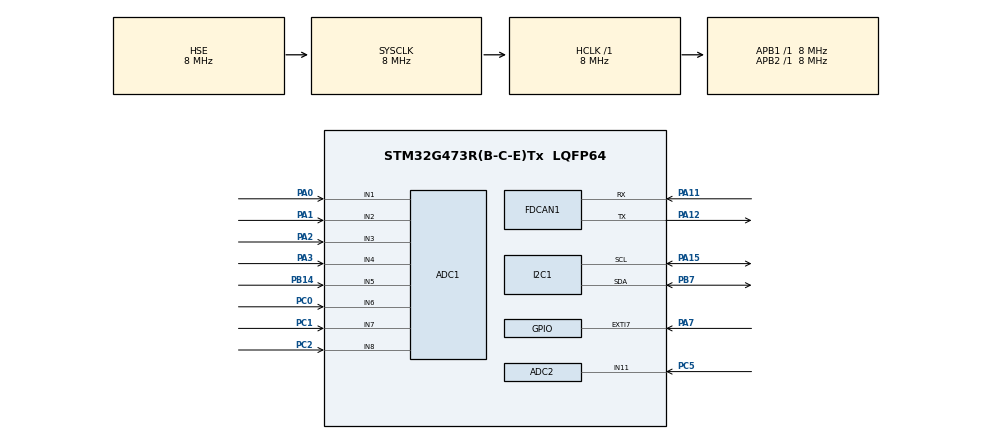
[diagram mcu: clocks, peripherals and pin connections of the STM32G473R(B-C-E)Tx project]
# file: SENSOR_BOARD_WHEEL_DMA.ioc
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ADC1.Channel-0\#ChannelRegularConversion=ADC_CHANNEL_1
ADC1.Channel-1\#ChannelRegularConversion=ADC_CHANNEL_2
ADC1.Channel-2\#ChannelRegularConversion=ADC_CHANNEL_3
ADC1.Channel-3\#ChannelRegularConversion=ADC_CHANNEL_4
ADC1.Channel-4\#ChannelRegularConversion=ADC_CHANNEL_5
ADC1.Channel-5\#ChannelRegularConversion=ADC_CHANNEL_6
ADC1.Channel-6\#ChannelRegularConversion=ADC_CHANNEL_7
ADC1.Channel-7\#ChannelRegularConversion=ADC_CHANNEL_8
ADC1.DMAContinuousRequests=ENABLE
ADC1.EOCSelection=ADC_EOC_SEQ_CONV
ADC1.ExternalTrigConv=ADC_EXTERNALTRIG_T3_TRGO
ADC1.NbrOfConversion=8
ADC1.NbrOfConversionFlag=1
ADC1.OffsetNumber-0\#ChannelRegularConversion=ADC_OFFSET_NONE
ADC1.OffsetNumber-1\#ChannelRegularConversion=ADC_OFFSET_NONE
ADC1.OffsetNumber-2\#ChannelRegularConversion=ADC_OFFSET_NONE
ADC1.OffsetNumber-3\#ChannelRegularConversion=ADC_OFFSET_NONE
ADC1.OffsetNumber-4\#ChannelRegularConversion=ADC_OFFSET_NONE
ADC1.OffsetNumber-5\#ChannelRegularConversion=ADC_OFFSET_NONE
ADC1.OffsetNumber-6\#ChannelRegularConversion=ADC_OFFSET_NONE
ADC1.OffsetNumber-7\#ChannelRegularConversion=ADC_OFFSET_NONE
ADC1.Rank-0\#ChannelRegularConversion=1
ADC1.Rank-1\#ChannelRegularConversion=2
ADC1.Rank-2\#ChannelRegularConversion=3
ADC1.Rank-3\#ChannelRegularConversion=4
ADC1.Rank-4\#ChannelRegularConversion=5
ADC1.Rank-5\#ChannelRegularConversion=6
ADC1.Rank-6\#ChannelRegularConversion=7
ADC1.Rank-7\#ChannelRegularConversion=8
ADC1.SamplingTime-0\#ChannelRegularConversion=ADC_SAMPLETIME_92CYCLES_5
ADC1.SamplingTime-1\#ChannelRegularConversion=ADC_SAMPLETIME_92CYCLES_5
ADC1.SamplingTime-2\#ChannelRegularConversion=ADC_SAMPLETIME_92CYCLES_5
ADC1.SamplingTime-3\#ChannelRegularConversion=ADC_SAMPLETIME_2CYCLES_5
ADC1.SamplingTime-4\#ChannelRegularConversion=ADC_SAMPLETIME_2CYCLES_5
ADC1.SamplingTime-5\#ChannelRegularConversion=ADC_SAMPLETIME_2CYCLES_5
ADC1.SamplingTime-6\#ChannelRegularConversion=ADC_SAMPLETIME_2CYCLES_5
ADC1.SamplingTime-7\#ChannelRegularConversion=ADC_SAMPLETIME_2CYCLES_5
ADC1.master=1
ADC2.Channel-1\#ChannelRegularConversion=ADC_CHANNEL_11
ADC2.ExternalTrigConv=ADC_EXTERNALTRIG_T3_TRGO
ADC2.NbrOfConversionFlag=1
ADC2.OffsetNumber-1\#ChannelRegularConversion=ADC_OFFSET_NONE
ADC2.Rank-1\#ChannelRegularConversion=1
ADC2.SamplingTime-1\#ChannelRegularConversion=ADC_SAMPLETIME_2CYCLES_5
Dma.ADC1.0.Direction=DMA_PERIPH_TO_MEMORY
Dma.ADC1.0.EventEnable=DISABLE
Dma.ADC1.0.Instance=DMA1_Channel1
Dma.ADC1.0.MemDataAlignment=DMA_MDATAALIGN_HALFWORD
Dma.ADC1.0.MemInc=DMA_MINC_ENABLE
Dma.ADC1.0.Mode=DMA_CIRCULAR
Dma.ADC1.0.PeriphDataAlignment=DMA_PDATAALIGN_HALFWORD
Dma.ADC1.0.PeriphInc=DMA_PINC_DISABLE
Dma.ADC1.0.Polarity=HAL_DMAMUX_REQ_GEN_RISING
Dma.ADC1.0.Priority=DMA_PRIORITY_LOW
Dma.ADC1.0.RequestNumber=1
Dma.ADC1.0.SignalID=NONE
Dma.ADC1.0.SyncEnable=DISABLE
Dma.ADC1.0.SyncPolarity=HAL_DMAMUX_SYNC_NO_EVENT
Dma.ADC1.0.SyncRequestNumber=1
Dma.ADC1.0.SyncSignalID=NONE
Dma.ADC2.1.Direction=DMA_PERIPH_TO_MEMORY
Dma.ADC2.1.EventEnable=DISABLE
Dma.ADC2.1.Instance=DMA1_Channel2
Dma.ADC2.1.MemDataAlignment=DMA_MDATAALIGN_HALFWORD
Dma.ADC2.1.MemInc=DMA_MINC_ENABLE
Dma.ADC2.1.Mode=DMA_NORMAL
Dma.ADC2.1.PeriphDataAlignment=DMA_PDATAALIGN_HALFWORD
Dma.ADC2.1.PeriphInc=DMA_PINC_DISABLE
Dma.ADC2.1.Polarity=HAL_DMAMUX_REQ_GEN_RISING
Dma.ADC2.1.Priority=DMA_PRIORITY_LOW
Dma.ADC2.1.RequestNumber=1
Dma.ADC2.1.SignalID=NONE
Dma.ADC2.1.SyncEnable=DISABLE
Dma.ADC2.1.SyncPolarity=HAL_DMAMUX_SYNC_NO_EVENT
Dma.ADC2.1.SyncRequestNumber=1
Dma.ADC2.1.SyncSignalID=NONE
Dma.Request0=ADC1
Dma.Request1=ADC2
FDCAN1.CalculateBaudRateNominal=100000
FDCAN1.CalculateTimeBitNominal=10000
FDCAN1.CalculateTimeQuantumNominal=2000.0
I2C1.Timing=0x00201D2B
Mcu.Family=STM32G4
Mcu.Name=STM32G473R(B-C-E)Tx
Mcu.Package=LQFP64
NVIC.ADC1_2_IRQn=true\:2\:0\:true\:false\:true\:true\:true\:true
NVIC.DMA1_Channel1_IRQn=true\:0\:0\:false\:false\:true\:false\:true\:true
NVIC.DMA1_Channel2_IRQn=true\:0\:0\:false\:false\:true\:false\:true\:true
NVIC.EXTI9_5_IRQn=true\:1\:0\:true\:false\:true\:true\:true\:true
NVIC.PriorityGroup=NVIC_PRIORITYGROUP_4
NVIC.TIM3_IRQn=true\:0\:0\:false\:false\:true\:true\:true\:true
PA0.Mode=IN1-Single-Ended
PA0.Signal=ADC1_IN1
PA1.Mode=IN2-Single-Ended
PA1.Signal=ADC1_IN2
PA11.Mode=FDCAN_Activate
PA11.Signal=FDCAN1_RX
PA12.Mode=FDCAN_Activate
PA12.Signal=FDCAN1_TX
PA13.Mode=Serial_Wire
PA13.Signal=SYS_JTMS-SWDIO
PA14.Mode=Serial_Wire
PA14.Signal=SYS_JTCK-SWCLK
PA15.Mode=I2C
PA15.Signal=I2C1_SCL
PA2.Mode=IN3-Single-Ended
PA2.Signal=ADC1_IN3
PA3.Mode=IN4-Single-Ended
PA3.Signal=ADC1_IN4
PA7.GPIO_PuPd=GPIO_PULLUP
PA7.Signal=GPXTI7
PB14.Mode=IN5-Single-Ended
PB14.Signal=ADC1_IN5
PB7.Mode=I2C
PB7.Signal=I2C1_SDA
PC0.Mode=IN6-Single-Ended
PC0.Signal=ADC1_IN6
PC1.Mode=IN7-Single-Ended
PC1.Signal=ADC1_IN7
PC2.Mode=IN8-Single-Ended
PC2.Signal=ADC1_IN8
PC5.Mode=IN11-Single-Ended
PC5.Signal=ADC2_IN11
PF0-OSC_IN.Mode=HSE-External-Oscillator
PF0-OSC_IN.Signal=RCC_OSC_IN
PF1-OSC_OUT.Mode=HSE-External-Oscillator
PF1-OSC_OUT.Signal=RCC_OSC_OUT
ProjectManager.HeapSize=0x200
ProjectManager.StackSize=0x400
ProjectManager.TargetToolchain=STM32CubeIDE
RCC.ADC12Freq_Value=8000000
RCC.ADC345Freq_Value=8000000
RCC.AHBFreq_Value=8000000
RCC.APB1Freq_Value=8000000
RCC.APB1TimFreq_Value=8000000
RCC.APB2Freq_Value=8000000
RCC.APB2TimFreq_Value=8000000
RCC.CortexFreq_Value=8000000
RCC.EXTERNAL_CLOCK_VALUE=12288000
RCC.FDCANCLockSelection=RCC_FDCANCLKSOURCE_HSE
RCC.HCLKFreq_Value=8000000
RCC.HSE_VALUE=8000000
RCC.HSI48_VALUE=48000000
RCC.HSI_VALUE=16000000
RCC.LSE_VALUE=32768
RCC.PLLSourceVirtual=RCC_PLLSOURCE_HSE
RCC.SYSCLKFreq_VALUE=8000000
RCC.SYSCLKSource=RCC_SYSCLKSOURCE_HSE
RCC.USBFreq_Value=32000000
RCC.VCOOutputFreq_Value=64000000
TIM3.PeriodNoDither=999
TIM3.Prescaler=7999
TIM3.TIM_MasterOutputTrigger=TIM_TRGO_UPDATE
TIM3.TIM_MasterSlaveMode=TIM_MASTERSLAVEMODE_ENABLE
VP_SYS_VS_DBSignals.Mode=DisableDeadBatterySignals
VP_TIM3_VS_ClockSourceINT.Mode=Internal
board=custom

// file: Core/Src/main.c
/* USER CODE BEGIN Header */
/**
  ******************************************************************************
  * @file           : main.c
  * @brief          : Main program body
  ******************************************************************************
  * @attention
  *
  * Copyright (c) 2024 STMicroelectronics.
  * All rights reserved.
  *
  * This software is licensed under terms that can be found in the LICENSE file
  * in the root directory of this software component.
  * If no LICENSE file comes with this software, it is provided AS-IS.
  *
  ******************************************************************************
  */
/* USER CODE END Header */
#include "main.h"

/* USER CODE BEGIN PD */

#define ADC_BUF_SIZE_DMS		8
#define ADC_BUF_SIZE_DAMPER		1

/* USER CODE END PD */

ADC_HandleTypeDef hadc1;
ADC_HandleTypeDef hadc2;
DMA_HandleTypeDef hdma_adc1;
DMA_HandleTypeDef hdma_adc2;

FDCAN_HandleTypeDef hfdcan1;

I2C_HandleTypeDef hi2c1;

TIM_HandleTypeDef htim3;

/* USER CODE BEGIN PV */

/* Volatile Variables */

volatile uint16_t CH1_PULL_PIPE_1 = 0;

volatile uint16_t CH2_PULL_PIPE_2 = 0;

volatile uint16_t CH3_PULL_PIPE_3 = 0;

volatile uint16_t CH4_PULL_PIPE_4 = 0;

volatile uint16_t CH5_PULL_PIPE_5 = 0;

volatile uint16_t CH6_PULL_PIPE_6 = 0;

volatile uint16_t CH7__TORSION_1 = 0;

volatile uint16_t CH8_TORSION2 = 0;

volatile uint16_t ADC2_DAMPER = 0;

volatile uint8_t ConvComplt_ADC1 = 0;

volatile uint8_t ConvComplt_ADC2 = 0;

uint32_t rawValues_DMS[ADC_BUF_SIZE_DMS];

uint32_t rawValues_DAMPER[ADC_BUF_SIZE_DAMPER];

volatile uint16_t WHEEL_SPEED = 0;

uint16_t WHEEL_RADIUS = 100;

volatile uint32_t lastTime = 0;
volatile uint32_t currentTime = 0;
volatile uint32_t timeDiff = 0;

/* USER CODE END PV */

void SystemClock_Config(void);
static void MX_GPIO_Init(void);
static void MX_DMA_Init(void);
static void MX_ADC1_Init(void);
static void MX_FDCAN1_Init(void);
static void MX_TIM3_Init(void);
static void MX_ADC2_Init(void);
static void MX_I2C1_Init(void);

int main(void)
{

  /* MCU Configuration--------------------------------------------------------*/

  /* Reset of all peripherals, Initializes the Flash interface and the Systick. */
  HAL_Init();

  /* Configure the system clock */
  SystemClock_Config();

  /* Initialize all configured peripherals */
  MX_GPIO_Init();
  MX_DMA_Init();
  MX_ADC1_Init();
  MX_FDCAN1_Init();
  MX_TIM3_Init();
  MX_ADC2_Init();
  MX_I2C1_Init();
  /* USER CODE BEGIN 2 */

  HAL_Delay(50); /* Starting time for VOLTAGE-Converter */

  uint16_t WHEEL_CIRCUMFERENCE = 2 * WHEEL_RADIUS * 3.14159f;

  HAL_ADCEx_Calibration_Start(&hadc1, ADC_SINGLE_ENDED);

  HAL_ADCEx_Calibration_Start(&hadc2, ADC_SINGLE_ENDED);

  HAL_ADC_Start_DMA(&hadc1, (uint32_t*)&rawValues_DMS, ADC_BUF_SIZE_DMS);

  HAL_ADC_Start_DMA(&hadc2, (uint32_t*)&rawValues_DAMPER, ADC_BUF_SIZE_DAMPER);

  HAL_TIM_Base_Start(&htim3);

  HAL_NVIC_EnableIRQ(EXTI9_5_IRQn);

  /* USER CODE END 2 */

  /* Infinite loop */
  /* USER CODE BEGIN WHILE */
  while (1)
  {

	  if(timeDiff != 0) {

	  	  	  WHEEL_SPEED = WHEEL_CIRCUMFERENCE / (timeDiff / 1000.0f);
	  	  }

	  if(ConvComplt_ADC1) {

		  ConvComplt_ADC1 = 0;

		  CH1_PULL_PIPE_1 = rawValues_DMS[0];

		  CH2_PULL_PIPE_2 = rawValues_DMS[1];

		  CH3_PULL_PIPE_3 = rawValues_DMS[2];

		  CH4_PULL_PIPE_4 = rawValues_DMS[3];

		  CH5_PULL_PIPE_5 = rawValues_DMS[4];

		  CH6_PULL_PIPE_6 = rawValues_DMS[5];

		  CH7_TORSION_1 = rawValues_DMS[6];

		  CH8_TORSION_2 = rawValues_DMS[6];

	  }

	  if(ConvComplt_ADC2) {

	  		ConvComplt_ADC2 = 0;

	  		ADC2_DAMPER = rawValues_DAMPER[1];

	  }

    /* USER CODE END WHILE */

  }
}

void SystemClock_Config(void)
{
  RCC_OscInitTypeDef RCC_OscInitStruct = {0};
  RCC_ClkInitTypeDef RCC_ClkInitStruct = {0};

  /** Configure the main internal regulator output voltage
  */
  HAL_PWREx_ControlVoltageScaling(PWR_REGULATOR_VOLTAGE_SCALE1);

  /** Initializes the RCC Oscillators according to the specified parameters
  * in the RCC_OscInitTypeDef structure.
  */
  RCC_OscInitStruct.OscillatorType = RCC_OSCILLATORTYPE_HSE;
  RCC_OscInitStruct.HSEState = RCC_HSE_ON;
  RCC_OscInitStruct.PLL.PLLState = RCC_PLL_NONE;
  if (HAL_RCC_OscConfig(&RCC_OscInitStruct) != HAL_OK)
  {
    Error_Handler();
  }

  /** Initializes the CPU, AHB and APB buses clocks
  */
  RCC_ClkInitStruct.ClockType = RCC_CLOCKTYPE_HCLK|RCC_CLOCKTYPE_SYSCLK
                              |RCC_CLOCKTYPE_PCLK1|RCC_CLOCKTYPE_PCLK2;
  RCC_ClkInitStruct.SYSCLKSource = RCC_SYSCLKSOURCE_HSE;
  RCC_ClkInitStruct.AHBCLKDivider = RCC_SYSCLK_DIV1;
  RCC_ClkInitStruct.APB1CLKDivider = RCC_HCLK_DIV1;
  RCC_ClkInitStruct.APB2CLKDivider = RCC_HCLK_DIV1;

  if (HAL_RCC_ClockConfig(&RCC_ClkInitStruct, FLASH_LATENCY_0) != HAL_OK)
  {
    Error_Handler();
  }
}

static void MX_ADC1_Init(void)
{

  ADC_MultiModeTypeDef multimode = {0};
  ADC_ChannelConfTypeDef sConfig = {0};

  /** Common config
  */
  hadc1.Instance = ADC1;
  hadc1.Init.ClockPrescaler = ADC_CLOCK_SYNC_PCLK_DIV2;
  hadc1.Init.Resolution = ADC_RESOLUTION_12B;
  hadc1.Init.DataAlign = ADC_DATAALIGN_RIGHT;
  hadc1.Init.GainCompensation = 0;
  hadc1.Init.ScanConvMode = ADC_SCAN_ENABLE;
  hadc1.Init.EOCSelection = ADC_EOC_SEQ_CONV;
  hadc1.Init.LowPowerAutoWait = DISABLE;
  hadc1.Init.ContinuousConvMode = DISABLE;
  hadc1.Init.NbrOfConversion = 8;
  hadc1.Init.DiscontinuousConvMode = DISABLE;
  hadc1.Init.ExternalTrigConv = ADC_EXTERNALTRIG_T3_TRGO;
  hadc1.Init.ExternalTrigConvEdge = ADC_EXTERNALTRIGCONVEDGE_RISING;
  hadc1.Init.DMAContinuousRequests = ENABLE;
  hadc1.Init.Overrun = ADC_OVR_DATA_PRESERVED;
  hadc1.Init.OversamplingMode = DISABLE;
  if (HAL_ADC_Init(&hadc1) != HAL_OK)
  {
    Error_Handler();
  }

  /** Configure the ADC multi-mode
  */
  multimode.Mode = ADC_MODE_INDEPENDENT;
  if (HAL_ADCEx_MultiModeConfigChannel(&hadc1, &multimode) != HAL_OK)
  {
    Error_Handler();
  }

  /** Configure Regular Channel
  */
  sConfig.Channel = ADC_CHANNEL_1;
  sConfig.Rank = ADC_REGULAR_RANK_1;
  sConfig.SamplingTime = ADC_SAMPLETIME_92CYCLES_5;
  sConfig.SingleDiff = ADC_SINGLE_ENDED;
  sConfig.OffsetNumber = ADC_OFFSET_NONE;
  sConfig.Offset = 0;
  if (HAL_ADC_ConfigChannel(&hadc1, &sConfig) != HAL_OK)
  {
    Error_Handler();
  }

  /** Configure Regular Channel
  */
  sConfig.Channel = ADC_CHANNEL_2;
  sConfig.Rank = ADC_REGULAR_RANK_2;
  if (HAL_ADC_ConfigChannel(&hadc1, &sConfig) != HAL_OK)
  {
    Error_Handler();
  }

  /** Configure Regular Channel
  */
  sConfig.Channel = ADC_CHANNEL_3;
  sConfig.Rank = ADC_REGULAR_RANK_3;
  if (HAL_ADC_ConfigChannel(&hadc1, &sConfig) != HAL_OK)
  {
    Error_Handler();
  }

  /** Configure Regular Channel
  */
  sConfig.Channel = ADC_CHANNEL_4;
  sConfig.Rank = ADC_REGULAR_RANK_4;
  sConfig.SamplingTime = ADC_SAMPLETIME_2CYCLES_5;
  if (HAL_ADC_ConfigChannel(&hadc1, &sConfig) != HAL_OK)
  {
    Error_Handler();
  }

  /** Configure Regular Channel
  */
  sConfig.Channel = ADC_CHANNEL_5;
  sConfig.Rank = ADC_REGULAR_RANK_5;
  if (HAL_ADC_ConfigChannel(&hadc1, &sConfig) != HAL_OK)
  {
    Error_Handler();
  }

  /** Configure Regular Channel
  */
  sConfig.Channel = ADC_CHANNEL_6;
  sConfig.Rank = ADC_REGULAR_RANK_6;
  if (HAL_ADC_ConfigChannel(&hadc1, &sConfig) != HAL_OK)
  {
    Error_Handler();
  }

  /** Configure Regular Channel
  */
  sConfig.Channel = ADC_CHANNEL_7;
  sConfig.Rank = ADC_REGULAR_RANK_7;
  if (HAL_ADC_ConfigChannel(&hadc1, &sConfig) != HAL_OK)
  {
    Error_Handler();
  }

  /** Configure Regular Channel
  */
  sConfig.Channel = ADC_CHANNEL_8;
  sConfig.Rank = ADC_REGULAR_RANK_8;
  if (HAL_ADC_ConfigChannel(&hadc1, &sConfig) != HAL_OK)
  {
    Error_Handler();
  }

}

static void MX_ADC2_Init(void)
{

  ADC_ChannelConfTypeDef sConfig = {0};

  /** Common config
  */
  hadc2.Instance = ADC2;
  hadc2.Init.ClockPrescaler = ADC_CLOCK_SYNC_PCLK_DIV2;
  hadc2.Init.Resolution = ADC_RESOLUTION_12B;
  hadc2.Init.DataAlign = ADC_DATAALIGN_RIGHT;
  hadc2.Init.GainCompensation = 0;
  hadc2.Init.ScanConvMode = ADC_SCAN_DISABLE;
  hadc2.Init.EOCSelection = ADC_EOC_SINGLE_CONV;
  hadc2.Init.LowPowerAutoWait = DISABLE;
  hadc2.Init.ContinuousConvMode = DISABLE;
  hadc2.Init.NbrOfConversion = 1;
  hadc2.Init.DiscontinuousConvMode = DISABLE;
  hadc2.Init.ExternalTrigConv = ADC_EXTERNALTRIG_T3_TRGO;
  hadc2.Init.ExternalTrigConvEdge = ADC_EXTERNALTRIGCONVEDGE_RISING;
  hadc2.Init.DMAContinuousRequests = DISABLE;
  hadc2.Init.Overrun = ADC_OVR_DATA_PRESERVED;
  hadc2.Init.OversamplingMode = DISABLE;
  if (HAL_ADC_Init(&hadc2) != HAL_OK)
  {
    Error_Handler();
  }

  /** Configure Regular Channel
  */
  sConfig.Channel = ADC_CHANNEL_11;
  sConfig.Rank = ADC_REGULAR_RANK_1;
  sConfig.SamplingTime = ADC_SAMPLETIME_2CYCLES_5;
  sConfig.SingleDiff = ADC_SINGLE_ENDED;
  sConfig.OffsetNumber = ADC_OFFSET_NONE;
  sConfig.Offset = 0;
  if (HAL_ADC_ConfigChannel(&hadc2, &sConfig) != HAL_OK)
  {
    Error_Handler();
  }

}

static void MX_FDCAN1_Init(void)
{

  hfdcan1.Instance = FDCAN1;
  hfdcan1.Init.ClockDivider = FDCAN_CLOCK_DIV1;
  hfdcan1.Init.FrameFormat = FDCAN_FRAME_CLASSIC;
  hfdcan1.Init.Mode = FDCAN_MODE_NORMAL;
  hfdcan1.Init.AutoRetransmission = DISABLE;
  hfdcan1.Init.TransmitPause = DISABLE;
  hfdcan1.Init.ProtocolException = DISABLE;
  hfdcan1.Init.NominalPrescaler = 16;
  hfdcan1.Init.NominalSyncJumpWidth = 1;
  hfdcan1.Init.NominalTimeSeg1 = 2;
  hfdcan1.Init.NominalTimeSeg2 = 2;
  hfdcan1.Init.DataPrescaler = 1;
  hfdcan1.Init.DataSyncJumpWidth = 1;
  hfdcan1.Init.DataTimeSeg1 = 1;
  hfdcan1.Init.DataTimeSeg2 = 1;
  hfdcan1.Init.StdFiltersNbr = 0;
  hfdcan1.Init.ExtFiltersNbr = 0;
  hfdcan1.Init.TxFifoQueueMode = FDCAN_TX_FIFO_OPERATION;
  if (HAL_FDCAN_Init(&hfdcan1) != HAL_OK)
  {
    Error_Handler();
  }

}

static void MX_I2C1_Init(void)
{

  hi2c1.Instance = I2C1;
  hi2c1.Init.Timing = 0x00201D2B;
  hi2c1.Init.OwnAddress1 = 0;
  hi2c1.Init.AddressingMode = I2C_ADDRESSINGMODE_7BIT;
  hi2c1.Init.DualAddressMode = I2C_DUALADDRESS_DISABLE;
  hi2c1.Init.OwnAddress2 = 0;
  hi2c1.Init.OwnAddress2Masks = I2C_OA2_NOMASK;
  hi2c1.Init.GeneralCallMode = I2C_GENERALCALL_DISABLE;
  hi2c1.Init.NoStretchMode = I2C_NOSTRETCH_DISABLE;
  if (HAL_I2C_Init(&hi2c1) != HAL_OK)
  {
    Error_Handler();
  }

  /** Configure Analogue filter
  */
  if (HAL_I2CEx_ConfigAnalogFilter(&hi2c1, I2C_ANALOGFILTER_ENABLE) != HAL_OK)
  {
    Error_Handler();
  }

  /** Configure Digital filter
  */
  if (HAL_I2CEx_ConfigDigitalFilter(&hi2c1, 0) != HAL_OK)
  {
    Error_Handler();
  }

}

static void MX_TIM3_Init(void)
{

  TIM_ClockConfigTypeDef sClockSourceConfig = {0};
  TIM_MasterConfigTypeDef sMasterConfig = {0};

  htim3.Instance = TIM3;
  htim3.Init.Prescaler = 7999;
  htim3.Init.CounterMode = TIM_COUNTERMODE_UP;
  htim3.Init.Period = 999;
  htim3.Init.ClockDivision = TIM_CLOCKDIVISION_DIV1;
  htim3.Init.AutoReloadPreload = TIM_AUTORELOAD_PRELOAD_DISABLE;
  if (HAL_TIM_Base_Init(&htim3) != HAL_OK)
  {
    Error_Handler();
  }
  sClockSourceConfig.ClockSource = TIM_CLOCKSOURCE_INTERNAL;
  if (HAL_TIM_ConfigClockSource(&htim3, &sClockSourceConfig) != HAL_OK)
  {
    Error_Handler();
  }
  sMasterConfig.MasterOutputTrigger = TIM_TRGO_UPDATE;
  sMasterConfig.MasterSlaveMode = TIM_MASTERSLAVEMODE_ENABLE;
  if (HAL_TIMEx_MasterConfigSynchronization(&htim3, &sMasterConfig) != HAL_OK)
  {
    Error_Handler();
  }
  /* USER CODE BEGIN TIM3_Init 2 */

  HAL_TIM_Base_Start_IT(&htim3);

  /* USER CODE END TIM3_Init 2 */

}

static void MX_DMA_Init(void)
{

  /* DMA controller clock enable */
  __HAL_RCC_DMAMUX1_CLK_ENABLE();
  __HAL_RCC_DMA1_CLK_ENABLE();

  /* DMA interrupt init */
  /* DMA1_Channel1_IRQn interrupt configuration */
  HAL_NVIC_SetPriority(DMA1_Channel1_IRQn, 0, 0);
  HAL_NVIC_EnableIRQ(DMA1_Channel1_IRQn);
  /* DMA1_Channel2_IRQn interrupt configuration */
  HAL_NVIC_SetPriority(DMA1_Channel2_IRQn, 0, 0);
  HAL_NVIC_EnableIRQ(DMA1_Channel2_IRQn);

}

static void MX_GPIO_Init(void)
{
  GPIO_InitTypeDef GPIO_InitStruct = {0};

  /* GPIO Ports Clock Enable */
  __HAL_RCC_GPIOF_CLK_ENABLE();
  __HAL_RCC_GPIOC_CLK_ENABLE();
  __HAL_RCC_GPIOA_CLK_ENABLE();
  __HAL_RCC_GPIOB_CLK_ENABLE();

  /*Configure GPIO pin : PA7 */
  GPIO_InitStruct.Pin = GPIO_PIN_7;
  GPIO_InitStruct.Mode = GPIO_MODE_IT_RISING;
  GPIO_InitStruct.Pull = GPIO_PULLUP;
  HAL_GPIO_Init(GPIOA, &GPIO_InitStruct);

  /* EXTI interrupt init*/
  HAL_NVIC_SetPriority(EXTI9_5_IRQn, 1, 0);
  HAL_NVIC_EnableIRQ(EXTI9_5_IRQn);

}

/* USER CODE BEGIN 4 */

void HAL_ADC_ConvCpltCallback(ADC_HandleTypeDef *hadc)
	{
		if(hadc == &hadc1) {

			ConvComplt_ADC1 = 1;

		}

		if(hadc == &hadc2) {

			ConvComplt_ADC2 = 1;

		}

	}

void HAL_GPIO_EXTI_Callback(uint16_t GPIO_Pin)
{
	if (GPIO_Pin == GPIO_PIN_7) {

	        currentTime = HAL_GetTick();
	        timeDiff = currentTime - lastTime;
	        lastTime = currentTime;

	 }
}

/* USER CODE END 4 */

void Error_Handler(void)
{
  __disable_irq();
  while (1)
  {
  }
}
